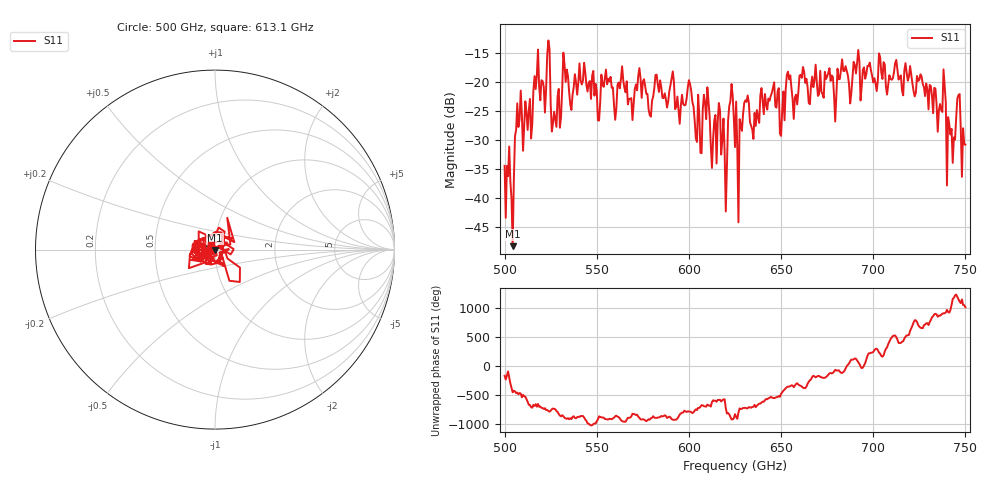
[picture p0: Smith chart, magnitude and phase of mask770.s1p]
!Created with skrf (http://scikit-rf.org).
# GHz S MA R 50.0
!freq magS11 angS11
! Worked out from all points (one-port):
!   401 points, 500 GHz to 750 GHz, reference 50 ohm
!   lowest |S11| = -48.2 dB at 504.4 GHz (marker M1), VSWR 1.01, Z = 50 - j0.388 ohm
!   |S11| at or under -10 dB: start of sweep to end of sweep
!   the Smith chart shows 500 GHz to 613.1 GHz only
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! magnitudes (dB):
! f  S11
! 500 GHz  -34.4
! 504.4 GHz  -48.2
! 507.5 GHz  -27.7
! 513.8 GHz  -22.9
! 516.9 GHz  -21.2
! 523.8 GHz  -12.9
! 526.9 GHz  -25.1
! 531.2 GHz  -21.2
! 562.5 GHz  -21.1
! 579.4 GHz  -26.0
! 590.6 GHz  -19.4
! 593.8 GHz  -22.5
! 600.6 GHz  -20.4
! 605.6 GHz  -25.7
! 609.4 GHz  -26.4
! 619.4 GHz  -32.0
! 622.5 GHz  -23.3
! 625 GHz  -31.2
! 627.5 GHz  -26.4
! 631.2 GHz  -23.4
! 635 GHz  -29.8
! 656.2 GHz  -23.0
! 687.5 GHz  -23.7
! 718.8 GHz  -19.8
! 738.1 GHz  -17.8
! 743.1 GHz  -33.9
! 746.2 GHz  -22.3
! 750 GHz  -30.8
